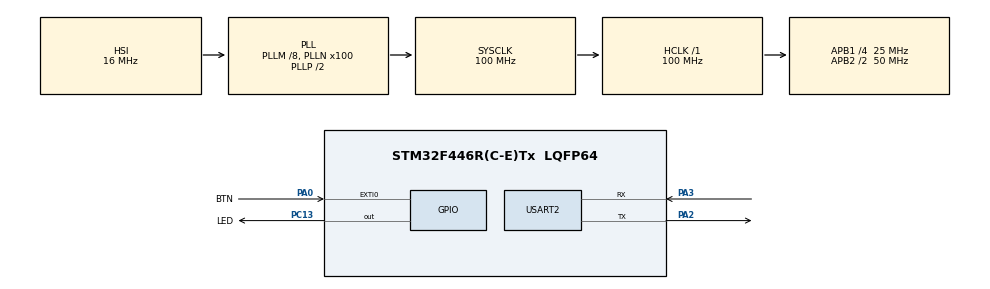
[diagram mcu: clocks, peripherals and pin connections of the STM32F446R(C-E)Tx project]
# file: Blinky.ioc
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Mcu.Family=STM32F4
Mcu.Name=STM32F446R(C-E)Tx
Mcu.Package=LQFP64
NVIC.PriorityGroup=NVIC_PRIORITYGROUP_4
PA0-WKUP.GPIO_Label=BTN
PA0-WKUP.GPIO_ModeDefaultEXTI=GPIO_MODE_IT_RISING_FALLING
PA0-WKUP.GPIO_PuPd=GPIO_PULLUP
PA0-WKUP.Signal=GPXTI0
PA13.Mode=Trace_Asynchronous_SW
PA13.Signal=SYS_JTMS-SWDIO
PA14.Mode=Trace_Asynchronous_SW
PA14.Signal=SYS_JTCK-SWCLK
PA2.Mode=Asynchronous
PA2.Signal=USART2_TX
PA3.Mode=Asynchronous
PA3.Signal=USART2_RX
PB3.Mode=Trace_Asynchronous_SW
PB3.Signal=SYS_JTDO-SWO
PC13.GPIO_Label=LED
PC13.GPIO_ModeDefaultOutputPP=GPIO_MODE_OUTPUT_OD
PC13.GPIO_PuPd=GPIO_NOPULL
PC13.PinState=GPIO_PIN_SET
PC13.Signal=GPIO_Output
PH0-OSC_IN.Mode=HSE-External-Oscillator
PH0-OSC_IN.Signal=RCC_OSC_IN
PH1-OSC_OUT.Mode=HSE-External-Oscillator
PH1-OSC_OUT.Signal=RCC_OSC_OUT
ProjectManager.HeapSize=0x200
ProjectManager.StackSize=0x400
ProjectManager.TargetToolchain=STM32CubeIDE
RCC.AHBFreq_Value=100000000
RCC.APB1CLKDivider=RCC_HCLK_DIV4
RCC.APB1Freq_Value=25000000
RCC.APB1TimFreq_Value=50000000
RCC.APB2CLKDivider=RCC_HCLK_DIV2
RCC.APB2Freq_Value=50000000
RCC.APB2TimFreq_Value=100000000
RCC.CortexFreq_Value=100000000
RCC.HCLKFreq_Value=100000000
RCC.PLLM=8
RCC.PLLN=100
RCC.SYSCLKFreq_VALUE=100000000
RCC.SYSCLKSource=RCC_SYSCLKSOURCE_PLLCLK
RCC.USBFreq_Value=100000000
RCC.VCOOutputFreq_Value=200000000
USART2.VirtualMode=VM_ASYNC
board=custom

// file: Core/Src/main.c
/* USER CODE BEGIN Header */
/**
  ******************************************************************************
  * @file           : main.c
  * @brief          : Main program body
  ******************************************************************************
  * @attention
  *
  * Copyright (c) 2025 STMicroelectronics.
  * All rights reserved.
  *
  * This software is licensed under terms that can be found in the LICENSE file
  * in the root directory of this software component.
  * If no LICENSE file comes with this software, it is provided AS-IS.
  *
  ******************************************************************************
  */
/* USER CODE END Header */
#include "main.h"

/* USER CODE BEGIN PD */
// Define pins manually if not using STM32CubeMX
#ifndef LED_Pin
#define LED_Pin GPIO_PIN_5           // User LED on PA5 (NUCLEO-F446RE)
#define LED_GPIO_Port GPIOA
#endif

#ifndef BTN_Pin
#define BTN_Pin GPIO_PIN_13          // User Button on PC13 (NUCLEO-F446RE)
#define BTN_GPIO_Port GPIOC
#endif
/* USER CODE END PD */

UART_HandleTypeDef huart2;

void SystemClock_Config(void);
static void MX_GPIO_Init(void);
static void MX_USART2_UART_Init(void);

/* USER CODE BEGIN 0 */

// Redirect printf to UART2 (ST-Link Virtual COM Port)
int _write(int fd, char* ptr, int len) {
  HAL_StatusTypeDef hstatus;

  if (fd == 1 || fd == 2) {
    hstatus = HAL_UART_Transmit(&huart2, (uint8_t *) ptr, len, HAL_MAX_DELAY);  // Changed to huart2
    if (hstatus == HAL_OK)
      return len;
    else
      return -1;
  }
  return -1;
}

/* USER CODE END 0 */

int main(void)
{

  /* MCU Configuration--------------------------------------------------------*/

  /* Reset of all peripherals, Initializes the Flash interface and the Systick. */
  HAL_Init();

  /* Configure the system clock */
  SystemClock_Config();

  /* Initialize all configured peripherals */
  MX_GPIO_Init();
  MX_USART2_UART_Init();
  /* USER CODE BEGIN 2 */

  // Add a small delay after UART initialization
  HAL_Delay(100);

  printf("First application starting\r\n");  // Added \r for proper line ending

  // Add some test output to verify it's working
  int counter = 0;

  /* USER CODE END 2 */

  /* Infinite loop */
  while (1)
  {

    /* USER CODE BEGIN 3 */
    printf("Counter: %d\r\n", counter++);
    HAL_Delay(1000);  // 1 second delay
  }
  /* USER CODE END 3 */
}

void SystemClock_Config(void)
{
  RCC_OscInitTypeDef RCC_OscInitStruct = {0};
  RCC_ClkInitTypeDef RCC_ClkInitStruct = {0};

  /** Configure the main internal regulator output voltage
  */
  __HAL_RCC_PWR_CLK_ENABLE();
  __HAL_PWR_VOLTAGESCALING_CONFIG(PWR_REGULATOR_VOLTAGE_SCALE3);

  /** Initializes the RCC Oscillators according to the specified parameters
  * in the RCC_OscInitTypeDef structure.
  */
  RCC_OscInitStruct.OscillatorType = RCC_OSCILLATORTYPE_HSI;
  RCC_OscInitStruct.HSIState = RCC_HSI_ON;
  RCC_OscInitStruct.HSICalibrationValue = RCC_HSICALIBRATION_DEFAULT;
  RCC_OscInitStruct.PLL.PLLState = RCC_PLL_ON;
  RCC_OscInitStruct.PLL.PLLSource = RCC_PLLSOURCE_HSI;
  RCC_OscInitStruct.PLL.PLLM = 8;
  RCC_OscInitStruct.PLL.PLLN = 100;
  RCC_OscInitStruct.PLL.PLLP = RCC_PLLP_DIV2;
  RCC_OscInitStruct.PLL.PLLQ = 2;
  RCC_OscInitStruct.PLL.PLLR = 2;
  if (HAL_RCC_OscConfig(&RCC_OscInitStruct) != HAL_OK)
  {
    Error_Handler();
  }

  /** Initializes the CPU, AHB and APB buses clocks
  */
  RCC_ClkInitStruct.ClockType = RCC_CLOCKTYPE_HCLK|RCC_CLOCKTYPE_SYSCLK
                              |RCC_CLOCKTYPE_PCLK1|RCC_CLOCKTYPE_PCLK2;
  RCC_ClkInitStruct.SYSCLKSource = RCC_SYSCLKSOURCE_PLLCLK;
  RCC_ClkInitStruct.AHBCLKDivider = RCC_SYSCLK_DIV1;
  RCC_ClkInitStruct.APB1CLKDivider = RCC_HCLK_DIV4;
  RCC_ClkInitStruct.APB2CLKDivider = RCC_HCLK_DIV2;

  if (HAL_RCC_ClockConfig(&RCC_ClkInitStruct, FLASH_LATENCY_3) != HAL_OK)
  {
    Error_Handler();
  }
}

static void MX_USART2_UART_Init(void)
{

  huart2.Instance = USART2;
  huart2.Init.BaudRate = 115200;
  huart2.Init.WordLength = UART_WORDLENGTH_8B;
  huart2.Init.StopBits = UART_STOPBITS_1;
  huart2.Init.Parity = UART_PARITY_NONE;
  huart2.Init.Mode = UART_MODE_TX_RX;
  huart2.Init.HwFlowCtl = UART_HWCONTROL_NONE;
  huart2.Init.OverSampling = UART_OVERSAMPLING_16;
  if (HAL_UART_Init(&huart2) != HAL_OK)
  {
    Error_Handler();
  }

}

static void MX_GPIO_Init(void)
{
  GPIO_InitTypeDef GPIO_InitStruct = {0};

  /* GPIO Ports Clock Enable */
  __HAL_RCC_GPIOC_CLK_ENABLE();
  __HAL_RCC_GPIOH_CLK_ENABLE();
  __HAL_RCC_GPIOA_CLK_ENABLE();
  __HAL_RCC_GPIOB_CLK_ENABLE();

  /*Configure GPIO pin Output Level */
  HAL_GPIO_WritePin(LED_GPIO_Port, LED_Pin, GPIO_PIN_SET);

  /*Configure GPIO pin : LED_Pin */
  GPIO_InitStruct.Pin = LED_Pin;
  GPIO_InitStruct.Mode = GPIO_MODE_OUTPUT_OD;
  GPIO_InitStruct.Pull = GPIO_NOPULL;
  GPIO_InitStruct.Speed = GPIO_SPEED_FREQ_LOW;
  HAL_GPIO_Init(LED_GPIO_Port, &GPIO_InitStruct);

  /*Configure GPIO pin : BTN_Pin */
  GPIO_InitStruct.Pin = BTN_Pin;
  GPIO_InitStruct.Mode = GPIO_MODE_IT_RISING_FALLING;
  GPIO_InitStruct.Pull = GPIO_PULLUP;
  HAL_GPIO_Init(BTN_GPIO_Port, &GPIO_InitStruct);

}

void Error_Handler(void)
{
  __disable_irq();
  while (1)
  {
  }
}
